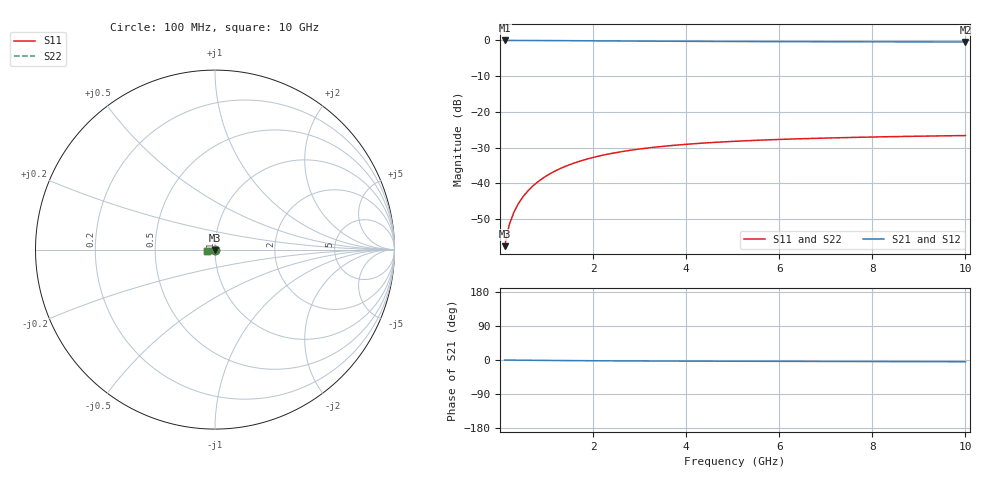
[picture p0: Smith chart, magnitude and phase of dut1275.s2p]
! Touchstone file exported from HFSS 2024.1.0
!  File:  C:/UserFiles/LocalFiles/RDL_TSV_Batchsim/temp_TSV1_1275_1780254757.aedt
!  Generated:  03:18:03 AM Jun  1, 2026
!  Design:  TSV1
!  Project:  temp_TSV1_1275_1780254757
!  Setup:  Setup1
!  Solution:  Sweep
! Variables:
!  dtsv = 12.22um
!  hbump = 3um
!  htsv = 70.52um
!  lrdl = 252.1521522um
!  p = 40
!  p1 = 50.31um
!  t = 500um
!  trdl = 3um
!  wrdl = 24.89489489um
# GHz S MA R 50.000000
! Terminal data exported
! Port[1] = TSV22_T1
! Port[2] = TSV22_T2
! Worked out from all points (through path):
!   100 points, 100 MHz to 10 GHz, reference 50 ohm
!   highest |S21| = 0.00 dB at 100 MHz (marker M1); lowest = -0.4 dB at 10 GHz (marker M2)
!   lowest |S11| = -57.6 dB at 100 MHz (marker M3), VSWR 1.00, Z = 50 - j0.131 ohm
!   |S11| at or under -10 dB: start of sweep to end of sweep
!   |S22| runs from -57.6 to -26.6 dB; largest |S21 - S12| = 8.4e-15
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0.1  0.001312 -87.8  0.9999 -0.1  0.9999 -0.1  0.001312 -87.8
! Gamma 0 0 0 0
! Port Impedance 50 0 50 0
0.2  0.00262 -91.3  0.9997 -0.2  0.9997 -0.2  0.00262 -91.3
0.3  0.003927 -93.7  0.9995 -0.4  0.9995 -0.4  0.003927 -93.7
0.4  0.005229 -95.7  0.9992 -0.5  0.9992 -0.5  0.005229 -95.7
0.5  0.00652 -97.6  0.9989 -0.6  0.9989 -0.6  0.00652 -97.6
0.6  0.007797 -99.5  0.9984 -0.7  0.9984 -0.7  0.007797 -99.5
0.7  0.009056 -101.3  0.9979 -0.8  0.9979 -0.8  0.009056 -101.3
0.8  0.01029 -103.0  0.9974 -0.9  0.9974 -0.9  0.01029 -103.0
0.9  0.01151 -104.7  0.9968 -1.0  0.9968 -1.0  0.01151 -104.7
1.1  0.01386 -108.1  0.9954 -1.2  0.9954 -1.2  0.01386 -108.1
1.4  0.01716 -112.9  0.9931 -1.5  0.9931 -1.5  0.01716 -112.9
1.6  0.01921 -115.9  0.9914 -1.7  0.9914 -1.7  0.01921 -115.9
1.8  0.02113 -118.7  0.9896 -1.8  0.9896 -1.8  0.02113 -118.7
2.1  0.02377 -122.8  0.9869 -2.0  0.9869 -2.0  0.02377 -122.8
2.5  0.02687 -127.7  0.9834 -2.3  0.9834 -2.3  0.02687 -127.7
2.9  0.02953 -132.2  0.9801 -2.5  0.9801 -2.5  0.02953 -132.2
3.4  0.03233 -137.1  0.9762 -2.7  0.9762 -2.7  0.03233 -137.1
4.2  0.03585 -143.9  0.9709 -3.0  0.9709 -3.0  0.03585 -143.9
5.1  0.0388 -150.1  0.9662 -3.3  0.9662 -3.3  0.0388 -150.1
6.7  0.04238 -158.9  0.9601 -3.7  0.9601 -3.7  0.04238 -158.9
8.4  0.04487 -166.1  0.9558 -4.2  0.9558 -4.2  0.04487 -166.1
10  0.04653 -171.7  0.953 -4.6  0.953 -4.6  0.04653 -171.7
